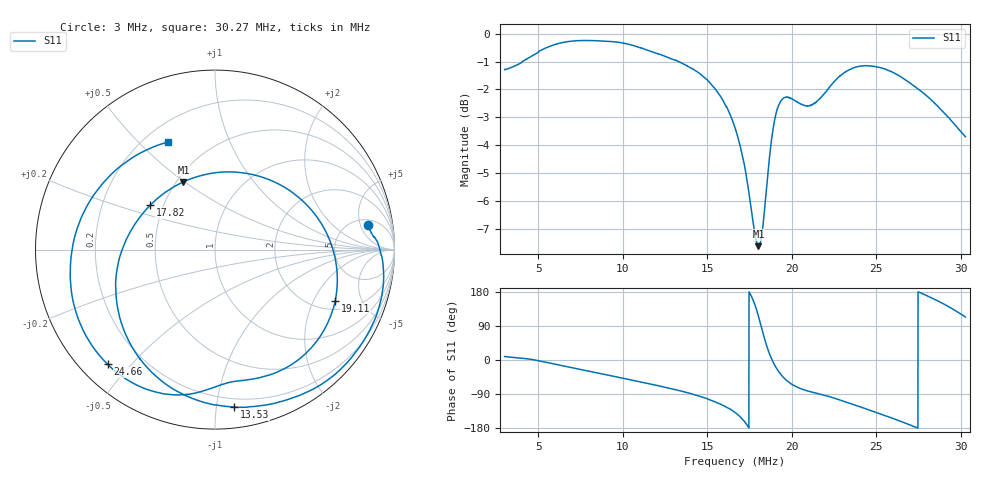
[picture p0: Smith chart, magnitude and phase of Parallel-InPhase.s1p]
# HZ S RI R 50
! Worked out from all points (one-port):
!   2727 points, 3 MHz to 30.27 MHz, reference 50 ohm
!   lowest |S11| = -7.6 dB at 18.03 MHz (marker M1), VSWR 2.43, Z = 27.1 + j24.7 ohm
!   |S11| at or under -10 dB: nowhere
!   S11 on the Smith chart (normalised r, x): 3 MHz: 6.31, +6.73; 13.53 MHz: 0.14, -1.12; 17.82 MHz: 0.42, +0.26; 19.11 MHz: 2.48, -3.00; 24.66 MHz: 0.08, -0.43; 30.27 MHz: 0.29, +0.62
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3000000  0.8518 0.1364
4540616  0.9087 0.0339
6411364  0.9307 -0.2502
8012004  0.8433 -0.4839
9822728  0.665 -0.6983
1.142337e7  0.4455 -0.8217
1.323409e7  0.1601 -0.8786
1.353421e7  0.1086 -0.8772
1.532493e7  -0.2522 -0.7648
1.607523e7  -0.4066 -0.6233
1.663545e7  -0.5067 -0.4511
1.732573e7  -0.5435 -0.0953
1.781592e7  -0.3595 0.2483
1.802601e7  -0.1761 0.3771
1.82461e7  0.0887 0.4328
1.844618e7  0.3482 0.3686
1.87663e7  0.6307 0.0724
1.910644e7  0.6702 -0.2842
1.952661e7  0.5231 -0.5613
2.004682e7  0.3181 -0.6935
2.071708e7  0.1454 -0.73
2.246778e7  -0.1429 -0.8055
2.345818e7  -0.359 -0.7852
2.465866e7  -0.5981 -0.6393
2.581912e7  -0.7531 -0.4086
2.686954e7  -0.8063 -0.1534
2.856022e7  -0.6896 0.2828
3.02709e7  -0.2592 0.6002
